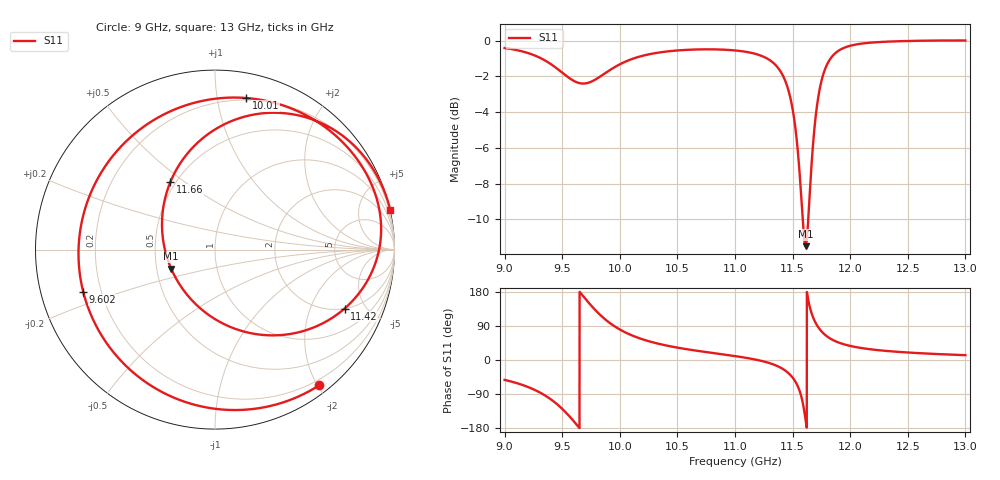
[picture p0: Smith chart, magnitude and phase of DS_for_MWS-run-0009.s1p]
! TOUCHSTONE file generated by CST DESIGN STUDIO
! Date and time: Tue Feb  4 16:00:41 2025
! Project name: C:\Work\MatlabApps\UnitCellOptimizationMatlab\CST\unitcell.cst
! Tree item: Tasks\Sweep1\SPara1\S-Parameters
! Header version: 2024
! Port assignment regex: !\s*Touchstone port\s*([0-9]+)\s*=\s*(CST MWS port|CST DES external port|CST DES block port)\s*(.+)\s* \(\"(.*)\"\)(\s*mode\s*([0-9]+))?.*
! Touchstone port assignment:
! Touchstone port 1 = CST DES external port 1 ("")
# GHz S MA R 50
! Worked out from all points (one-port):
!   4001 points, 9 GHz to 13 GHz, reference 50 ohm
!   lowest |S11| = -11.5 dB at 11.61 GHz (marker M1), VSWR 1.73, Z = 29.8 - j6.87 ohm
!   |S11| at or under -10 dB: 11.58759 GHz to 11.6358 GHz (48.21 MHz wide, 0.415 % of centre)
!   S11 on the Smith chart (normalised r, x): 9 GHz: 0.12, -2.03; 9.602 GHz: 0.13, -0.15; 10.01 GHz: 0.18, +1.21; 11.42 GHz: 2.00, -3.54; 11.66 GHz: 0.47, +0.44; 13 GHz: -0.02, +8.96
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9  0.9531 -52.4
9.168  0.9299 -67.2
9.32  0.8907 -88.0
9.416  0.8531 -107.1
9.5  0.8135 -128.9
9.602  0.771 -162.2
9.697  0.7587 163.0
9.807  0.7848 125.7
9.896  0.8199 101.6
10  0.8583 80.5
10.013  0.8625 78.3
10.224  0.911 52.1
10.5  0.9382 32.6
11  0.9384 10.3
11.271  0.8937 -5.6
11.42  0.793 -24.5
11.5  0.6437 -46.3
11.56  0.4298 -80.6
11.612  0.2663 -156.3
11.638  0.3249 155.4
11.665  0.4524 123.2
11.711  0.6548 92.0
11.763  0.7983 71.7
11.863  0.9172 50.8
12  0.967 37.2
12.192  0.9874 27.7
12.5  0.9972 19.8
13  1 12.7
